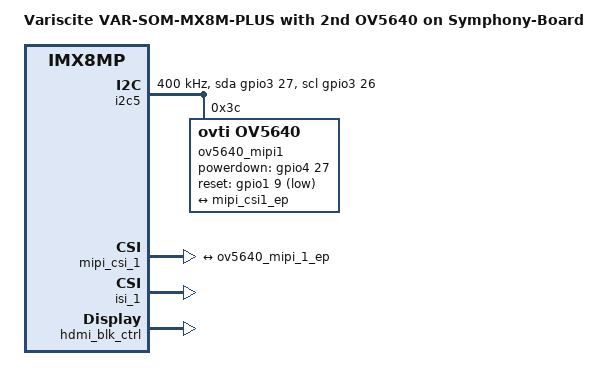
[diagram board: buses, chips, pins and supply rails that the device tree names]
// SPDX-License-Identifier: (GPL-2.0+ OR MIT)
/*
 * Copyright 2019 NXP
 * Copyright 2020-2021 Variscite Ltd.
 */

#include "imx8mp-var-som-symphony.dts"

/ {
	model = "Variscite VAR-SOM-MX8M-PLUS with 2nd OV5640 on Symphony-Board";
};

&i2c5 {
	clock-frequency = <400000>;
	pinctrl-names = "default", "gpio";
	pinctrl-0 = <&pinctrl_i2c5>;
	pinctrl-1 = <&pinctrl_i2c5_gpio>;
	scl-gpios = <&gpio3 26 GPIO_ACTIVE_HIGH>;
	sda-gpios = <&gpio3 27 GPIO_ACTIVE_HIGH>;
	status = "okay";

	ov5640_mipi1: ov5640_mipi@3c {
		compatible = "ovti,ov5640";
		reg = <0x3c>;
		pinctrl-names = "default";
		pinctrl-0 = <&pinctrl_csi1>;
		clocks = <&clk IMX8MP_CLK_IPP_DO_CLKO2>;
		clock-names = "xclk";
/* Disabled CLKO2, since DART-MX8MP camera expansion board uses
 * its own oscillator. Enable CLK02 if your desing requres it
 */
#if 0
		assigned-clocks = <&clk IMX8MP_CLK_IPP_DO_CLKO2>;
		assigned-clock-parents = <&clk IMX8MP_CLK_24M>;
#endif
		assigned-clock-rates = <24000000>;
		csi_id = <1>;
		powerdown-gpios = <&gpio4 27 GPIO_ACTIVE_HIGH>;
		reset-gpios = <&gpio1 9 GPIO_ACTIVE_LOW>;
		mclk = <24000000>;
		mclk_source = <0>;
		mipi_csi;
		status = "okay";

		port {
			ov5640_mipi_1_ep: endpoint {
				remote-endpoint = <&mipi_csi1_ep>;
				data-lanes = <1 2>;
				clock-lanes = <0>;
			};
		};
	};
};

&mipi_csi_1 {
	#address-cells = <1>;
	#size-cells = <0>;
	status = "okay";

	port@1 {
		reg = <1>;
		mipi_csi1_ep: endpoint {
			remote-endpoint = <&ov5640_mipi_1_ep>;
			data-lanes = <2>;
			csis-hs-settle = <13>;
			csis-clk-settle = <2>;
			csis-wclk;
		};
	};
};

&isi_1 {
	status = "okay";

	cap_device {
		status = "okay";
	};
};

&lcdif3 {
	status = "disabled";
};

&irqsteer_hdmi {
	status = "disabled";
};

&hdmi_blk_ctrl {
        status = "okay";
};

&hdmi_pavi {
	status = "disabled";
};

&hdmi {
	status = "disabled";
};

&hdmiphy {
	status = "disabled";
};

&sound_hdmi {
	status = "disabled";
};

&aud2htx {
	status = "disabled";
};

&iomuxc {
	/delete-property/ pinctrl-names;
	/delete-property/ pinctrl-0;
	/delete-node/ hoggrp;

	pinctrl_i2c5: i2c5grp {
		fsl,pins = <
			MX8MP_IOMUXC_HDMI_DDC_SCL__I2C5_SCL		0x400001c2
			MX8MP_IOMUXC_HDMI_DDC_SDA__I2C5_SDA		0x400001c2
		>;
	};

	pinctrl_i2c5_gpio: i2c5gpiogrp {
		fsl,pins = <
			MX8MP_IOMUXC_HDMI_DDC_SCL__GPIO3_IO26		0x1c2
			MX8MP_IOMUXC_HDMI_DDC_SDA__GPIO3_IO27		0x1c2
		>;
	};

	pinctrl_csi1: csi1grp {
		fsl,pins = <
			MX8MP_IOMUXC_SAI2_MCLK__GPIO4_IO27		0x10
			MX8MP_IOMUXC_GPIO1_IO09__GPIO1_IO09		0x10
		>;
	};
};
